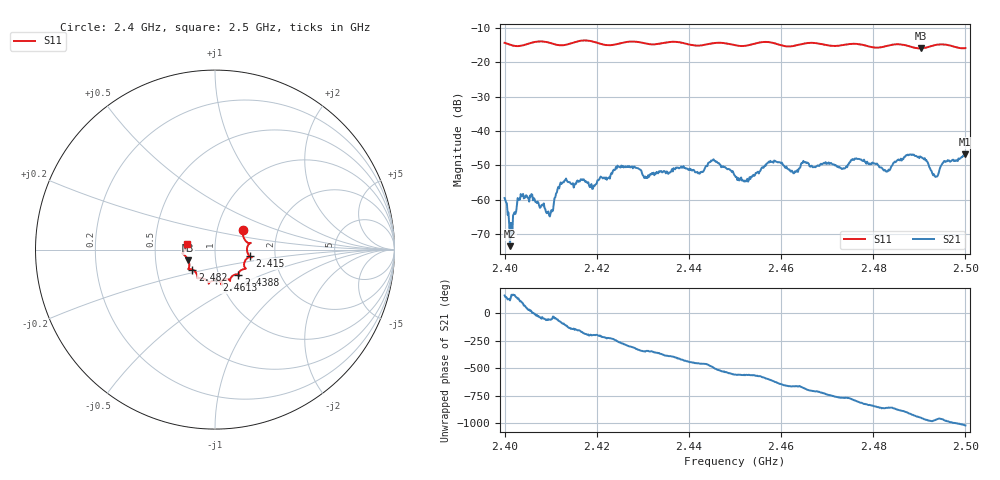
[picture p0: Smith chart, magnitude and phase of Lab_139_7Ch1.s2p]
# Hz S RI R 50
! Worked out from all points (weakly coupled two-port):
!   601 points, 2.4 GHz to 2.5 GHz, reference 50 ohm
!   highest |S21| = -46.75 dB at 2.4998 GHz (marker M1); lowest = -73.5 dB at 2.4012 GHz (marker M2)
!   lowest |S11| = -15.9 dB at 2.4903 GHz (marker M3), VSWR 1.38, Z = 36.8 - j4.45 ohm
!   |S11| at or under -10 dB: start of sweep to end of sweep
!   S12 and S22 are empty: the file has one direction only
!   S11 on the Smith chart (normalised r, x): 2.4 GHz: 1.33, +0.31; 2.415 GHz: 1.47, -0.11; 2.4388 GHz: 1.24, -0.36; 2.4613 GHz: 0.96, -0.34; 2.482 GHz: 0.76, -0.17; 2.5 GHz: 0.72, +0.05
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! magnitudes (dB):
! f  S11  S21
! 2.4 GHz  -14.3  -59.5
! 2.4012 GHz  -14.8  -73.5
! 2.4035 GHz  -15.1  -58.3
! 2.4095 GHz  -14.2  -63.4
! 2.4125 GHz  -15.0  -55.0
! 2.415 GHz  -14.2  -56.4
! 2.4167 GHz  -13.6  -54.1
! 2.419 GHz  -13.9  -56.8
! 2.425 GHz  -14.4  -50.5
! 2.4333 GHz  -14.6  -52.3
! 2.4388 GHz  -14.4  -50.2
! 2.4453 GHz  -14.4  -48.2
! 2.45 GHz  -15.0  -53.0
! 2.4613 GHz  -15.3  -50.9
! 2.4667 GHz  -14.3  -50.1
! 2.4765 GHz  -14.6  -48.1
! 2.482 GHz  -15.5  -51.0
! 2.4833 GHz  -15.0  -51.2
! 2.4903 GHz  -15.9  -47.5
! 2.4935 GHz  -14.9  -53.3
! 2.4998 GHz  -15.8  -46.7
! 2.5 GHz  -15.8  -46.9
